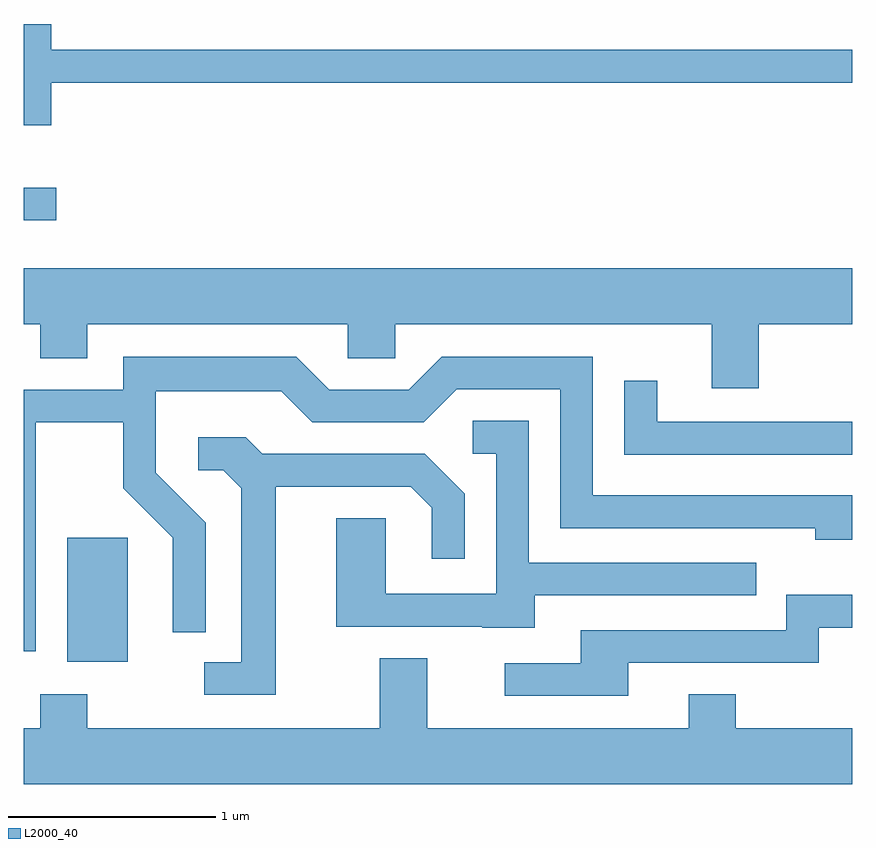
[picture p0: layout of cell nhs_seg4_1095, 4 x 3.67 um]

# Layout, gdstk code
import gdstk
lib = gdstk.Library(unit=1e-6, precision=1e-09)
def R(c, l, rs):  # rectangles x0, y0, x1, y1
    for r in rs: c.add(gdstk.rectangle(r[:2], r[2:], *l))
def P(c, l, *ps):  # polygons
    for p in ps: c.add(gdstk.Polygon(p, *l))
L2000_40 = (2000, 40)

nhs_seg4_1095 = lib.new_cell('nhs_seg4_1095')
R(nhs_seg4_1095, L2000_40, [(217.821,1268.686,218.114,1269.284), (217.611,1270.816,217.768,1270.974)])
P(nhs_seg4_1095, L2000_40, [(217.744,1271.481),(221.611,1271.481),(221.611,1271.639),(217.744,1271.639),(217.744,1271.764),(217.611,1271.764),(217.611,1271.276),(217.744,1271.276)],
  [(221.159,1270.316),(221.611,1270.316),(221.611,1270.584),(217.611,1270.584),(217.611,1270.316),(217.691,1270.316),(217.691,1270.151),(217.919,1270.151),(217.919,1270.316),(219.176,1270.316),(219.176,1270.151),(219.404,1270.151),(219.404,1270.316),(220.931,1270.316),(220.931,1270.006),(221.159,1270.006)],
  [(217.669,1269.841),(218.091,1269.841),(218.091,1269.524),(218.331,1269.284),(218.331,1268.828),(218.489,1268.828),(218.489,1269.357),(218.249,1269.597),(218.249,1269.991),(218.854,1269.991),(219.004,1269.841),(219.542,1269.841),(219.702,1270.001),(220.201,1270.001),(220.201,1269.331),(221.431,1269.331),(221.431,1269.276),(221.611,1269.276),(221.611,1269.489),(220.359,1269.489),(220.359,1270.159),(219.629,1270.159),(219.469,1269.999),(219.087,1269.999),(218.927,1270.159),(218.091,1270.159),(218.091,1269.999),(217.611,1269.999),(217.611,1268.736),(217.669,1268.736)],
  [(221.611,1269.844),(220.669,1269.844),(220.669,1270.043),(220.511,1270.043),(220.511,1269.686),(221.611,1269.686)],
  [(220.079,1269.006),(221.148,1269.006),(221.148,1269.164),(220.049,1269.164),(220.049,1269.849),(219.778,1269.849),(219.778,1269.691),(219.891,1269.691),(219.891,1269.014),(219.359,1269.014),(219.359,1269.379),(219.121,1269.379),(219.121,1268.856),(219.825,1268.856),(219.825,1268.851),(220.079,1268.851)],
  [(218.829,1269.531),(219.479,1269.531),(219.581,1269.429),(219.581,1269.183),(219.739,1269.183),(219.739,1269.497),(219.547,1269.689),(218.762,1269.689),(218.682,1269.769),(218.453,1269.769),(218.453,1269.611),(218.574,1269.611),(218.661,1269.524),(218.661,1268.684),(218.483,1268.684),(218.483,1268.526),(218.829,1268.526)],
  [(220.529,1268.681),(221.449,1268.681),(221.449,1268.851),(221.611,1268.851),(221.611,1269.009),(221.291,1269.009),(221.291,1268.839),(220.301,1268.839),(220.301,1268.679),(219.933,1268.679),(219.933,1268.521),(220.529,1268.521)],
  [(221.611,1268.364),(221.049,1268.364),(221.049,1268.529),(220.821,1268.529),(220.821,1268.364),(219.559,1268.364),(219.559,1268.704),(219.331,1268.704),(219.331,1268.364),(217.919,1268.364),(217.919,1268.529),(217.691,1268.529),(217.691,1268.364),(217.611,1268.364),(217.611,1268.096),(221.611,1268.096)])

lib.write_gds('nhs_seg4_1095.gds')
